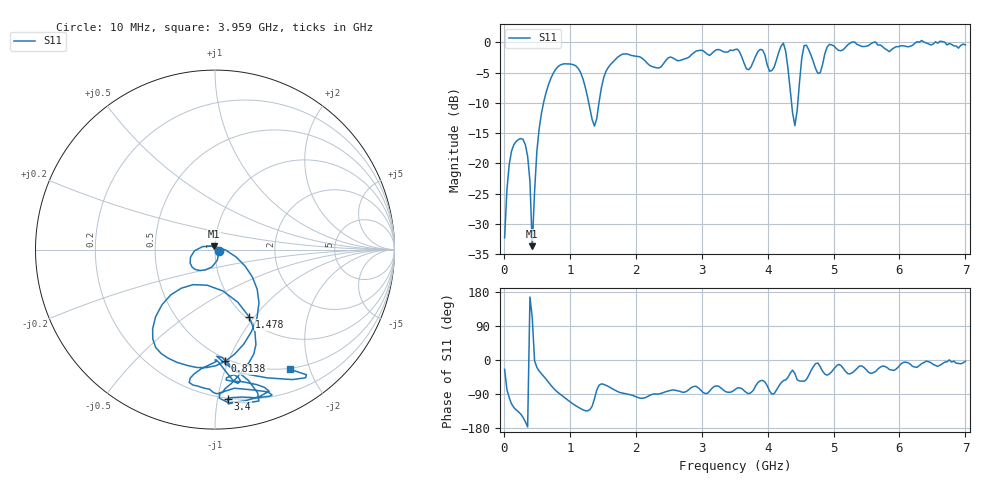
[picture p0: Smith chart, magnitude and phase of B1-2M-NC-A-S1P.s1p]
!File created by NanoVNA
# Hz S RI R 50
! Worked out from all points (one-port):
!   201 points, 10 MHz to 7 GHz, reference 50 ohm
!   lowest |S11| = -33.7 dB at 429.4 MHz (marker M1), VSWR 1.04, Z = 49.2 + j1.9 ohm
!   |S11| at or under -10 dB: start of sweep to 600.8 MHz; 1.286 GHz to 1.442 GHz (155.2 MHz wide, 11.4 % of centre); 4.363 GHz to 4.458 GHz (94.63 MHz wide, 2.15 % of centre)
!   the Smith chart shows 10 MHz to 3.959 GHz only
!   S11 on the Smith chart (normalised r, x): 10 MHz: 1.04, -0.02; 813.9 MHz: 0.48, -0.97; 1.478 GHz: 1.03, -0.94; 3.4 GHz: 0.19, -1.07; 3.959 GHz: 0.49, -1.70
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1e7  0.022 -0.0102
7.99e7  -0.0165 -0.0963
2.5465e8  -0.1277 -0.0971
3.595e8  -0.1141 -0.00644
4.294e8  -0.00748 0.0193
5.3425e8  0.1692 -0.0935
8.1385e8  0.0559 -0.6226
8.8375e8  -0.0476 -0.6574
1.16335e9  -0.3475 -0.4415
1.37305e9  -0.0431 -0.1986
1.4779e9  0.1903 -0.3749
1.7575e9  0.0577 -0.7734
2.63125e9  0.1075 -0.6969
3.40015e9  0.0709 -0.8322
3.505e9  0.1769 -0.854
3.7147e9  0.00979 -0.5944
3.95935e9  0.4158 -0.6659
4.09915e9  0.0136 -0.6236
4.23895e9  0.5708 -0.8029
4.37875e9  0.2333 -0.1177
4.5535e9  0.5252 -0.7788
4.7632e9  0.5482 -0.0777
4.903e9  0.7011 -0.5881
5.07775e9  0.8415 -0.1701
5.2525e9  0.7927 -0.5871
5.3923e9  0.9091 -0.2608
6.12625e9  0.9114 -0.1131
7e9  0.9522 -0.0543
